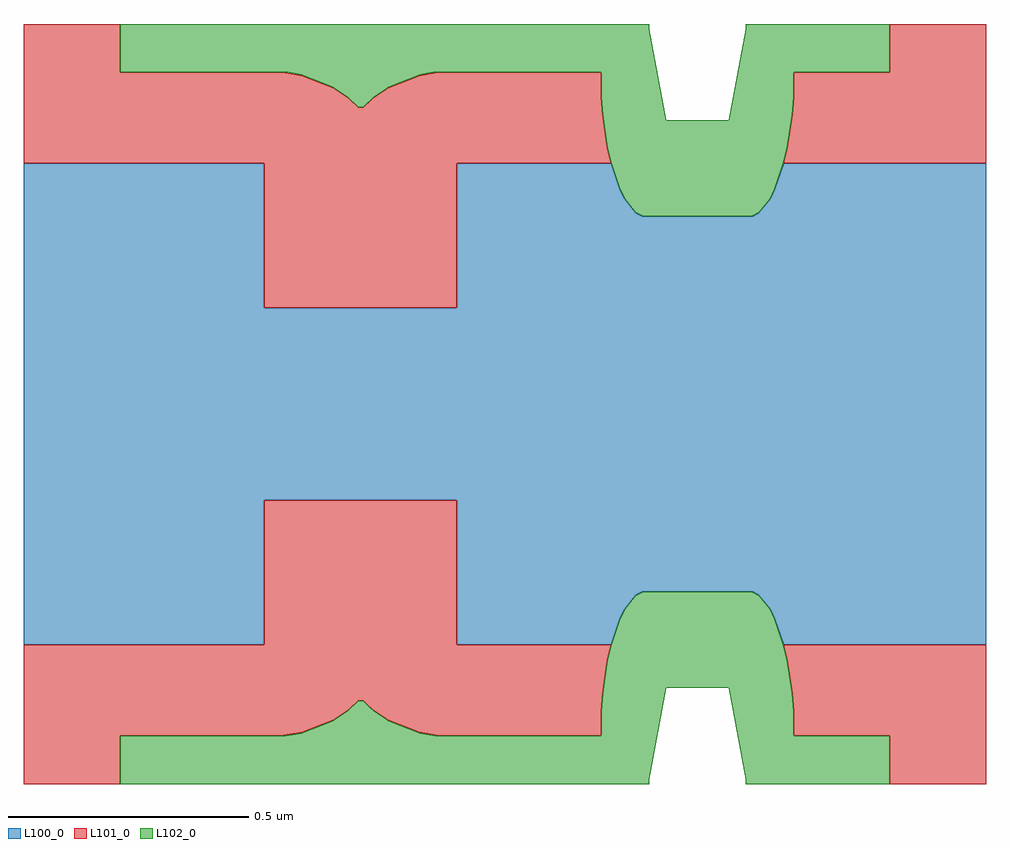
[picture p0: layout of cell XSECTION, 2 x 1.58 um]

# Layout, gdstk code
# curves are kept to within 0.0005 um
import gdstk
lib = gdstk.Library(unit=1e-6, precision=1e-09)
def P(c, l, *ps):  # polygons
    for p in ps: c.add(gdstk.Polygon(p, *l))
L100_0 = (100, 0)
L101_0 = (101, 0)
L102_0 = (102, 0)

xsection = lib.new_cell('XSECTION')
P(xsection, L100_0, [(0,-1),(0,0),(0.5,0),(0.5,-0.3),(0.9,-0.3),(0.9,0),(1.221,0),(1.239,-0.052),(1.249,-0.073),(1.272,-0.102),(1.286,-0.11),(1.514,-0.11),(1.528,-0.102),(1.551,-0.073),(1.561,-0.052),(1.579,0),(2,0),(2,-1),(1.579,-1),(1.561,-0.948),(1.551,-0.927),(1.528,-0.898),(1.514,-0.89),(1.286,-0.89),(1.272,-0.898),(1.249,-0.927),(1.239,-0.948),(1.221,-1),(0.9,-1),(0.9,-0.7),(0.5,-0.7),(0.5,-1)])
P(xsection, L101_0, [(1.8,-1.29),(1.8,-1.19),(1.6,-1.19),(1.6,-1.14),(1.597,-1.101),(1.587,-1.034),(1.58,-1.004),(1.579,-1.002),(1.579,-1),(2,-1),(2,-1.29)],
  [(0,-1.29),(0,-1),(0.5,-1),(0.5,-0.7),(0.9,-0.7),(0.9,-1),(1.221,-1),(1.213,-1.034),(1.203,-1.101),(1.2,-1.14),(1.2,-1.19),(0.859,-1.19),(0.823,-1.183),(0.756,-1.157),(0.726,-1.137),(0.705,-1.117),(0.695,-1.117),(0.674,-1.137),(0.644,-1.157),(0.577,-1.183),(0.539,-1.19),(0.2,-1.19),(0.2,-1.29)],
  [(0.5,-0.3),(0.5,0),(0,0),(0,0.29),(0.2,0.29),(0.2,0.19),(0.542,0.19),(0.577,0.183),(0.644,0.157),(0.674,0.137),(0.695,0.117),(0.705,0.117),(0.726,0.137),(0.756,0.157),(0.823,0.183),(0.856,0.19),(1.2,0.19),(1.2,0.139),(1.203,0.101),(1.213,0.034),(1.22,0.004),(1.22,0),(0.9,0),(0.9,-0.3)],
  [(1.58,0),(1.58,0.004),(1.587,0.034),(1.597,0.101),(1.6,0.139),(1.6,0.19),(1.8,0.19),(1.8,0.29),(2,0.29),(2,0)])
P(xsection, L102_0, [(0.2,-1.29),(0.2,-1.19),(0.539,-1.19),(0.577,-1.183),(0.644,-1.157),(0.674,-1.137),(0.695,-1.117),(0.705,-1.117),(0.726,-1.137),(0.756,-1.157),(0.823,-1.183),(0.861,-1.19),(1.2,-1.19),(1.2,-1.14),(1.203,-1.101),(1.213,-1.034),(1.22,-1.004),(1.239,-0.948),(1.249,-0.927),(1.272,-0.898),(1.286,-0.89),(1.514,-0.89),(1.528,-0.898),(1.551,-0.927),(1.561,-0.948),(1.58,-1.004),(1.587,-1.034),(1.597,-1.101),(1.6,-1.14),(1.6,-1.19),(1.8,-1.19),(1.8,-1.29),(1.5,-1.29),(1.5,-1.28),(1.465,-1.09),(1.335,-1.09),(1.3,-1.28),(1.3,-1.29)],
  [(1.286,-0.11),(1.272,-0.102),(1.249,-0.073),(1.239,-0.052),(1.22,0.004),(1.213,0.034),(1.203,0.101),(1.2,0.138),(1.2,0.19),(0.855,0.19),(0.823,0.183),(0.756,0.157),(0.726,0.137),(0.705,0.117),(0.695,0.117),(0.674,0.137),(0.644,0.157),(0.577,0.183),(0.545,0.19),(0.2,0.19),(0.2,0.29),(1.3,0.29),(1.3,0.279),(1.335,0.09),(1.465,0.09),(1.5,0.279),(1.5,0.29),(1.8,0.29),(1.8,0.19),(1.6,0.19),(1.6,0.138),(1.597,0.101),(1.587,0.034),(1.58,0.004),(1.561,-0.052),(1.551,-0.073),(1.528,-0.102),(1.514,-0.11)])

lib.write_gds('XSECTION.gds')
